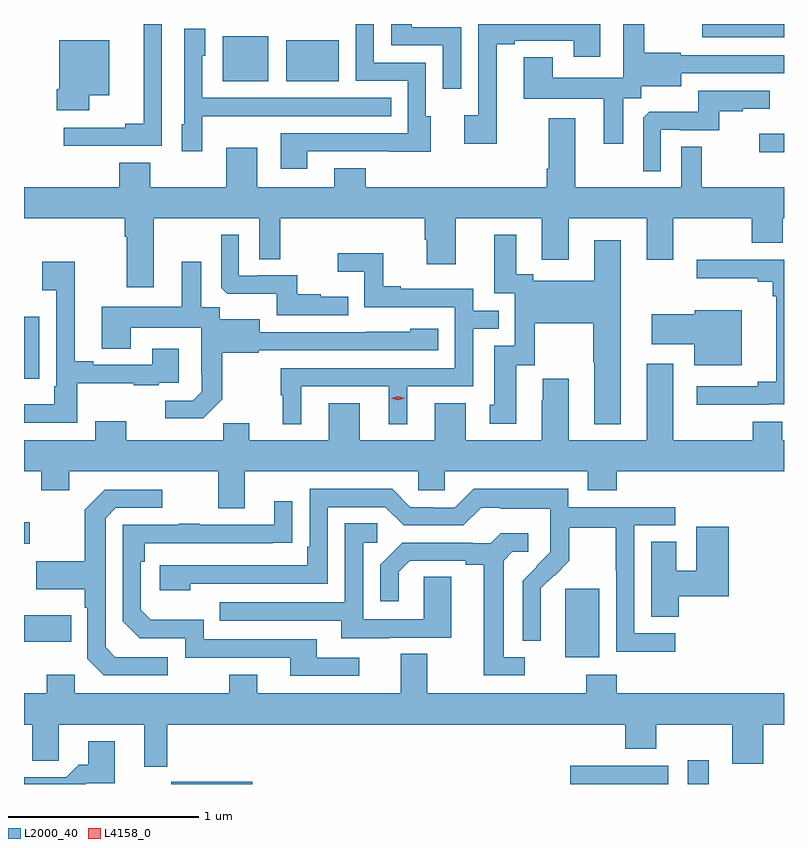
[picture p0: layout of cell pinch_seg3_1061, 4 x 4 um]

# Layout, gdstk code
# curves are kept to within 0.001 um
import gdstk
lib = gdstk.Library(unit=1e-6, precision=1e-09)
def R(c, l, rs):  # rectangles x0, y0, x1, y1
    for r in rs: c.add(gdstk.rectangle(r[:2], r[2:], *l))
def P(c, l, *ps):  # polygons
    for p in ps: c.add(gdstk.Polygon(p, *l))
L2000_40 = (2000, 40)
L4158_0 = (4158, 0)

pinch_seg3_1061 = lib.new_cell('pinch_seg3_1061')
R(pinch_seg3_1061, L2000_40, [(250.738,704.599,251.164,704.611), (252.837,704.599,253.353,704.694), (253.457,704.599,253.566,704.725), (252.812,705.266,252.991,705.627), (249.963,705.347,250.211,705.487), (249.963,705.863,249.994,705.976), (249.963,706.733,250.044,707.059), (253.833,707.924,253.963,708.022), (251.009,708.299,251.248,708.535), (251.342,708.299,251.62,708.514), (253.533,708.528,253.963,708.599)])
P(pinch_seg3_1061, L2000_40, [(253.117,708.208),(253.212,708.208),(253.212,708.272),(253.423,708.272),(253.423,708.339),(253.963,708.339),(253.963,708.435),(253.419,708.435),(253.419,708.448),(253.227,708.448),(253.227,708.599),(253.118,708.599),(253.118,708.557),(253.116,708.557),(253.116,708.316),(252.745,708.316),(252.745,708.425),(252.593,708.425),(252.593,708.206),(253.013,708.206),(253.013,707.97),(253.117,707.97)],
  [(250.689,708.599),(250.592,708.599),(250.592,708.074),(250.496,708.074),(250.496,708.054),(250.173,708.054),(250.173,707.958),(250.689,707.958)],
  [(252.264,708.583),(252.003,708.583),(252.003,708.599),(251.895,708.599),(251.895,708.486),(252.168,708.486),(252.168,708.258),(252.264,708.258)],
  [(252.451,708.492),(252.547,708.492),(252.547,708.51),(252.857,708.51),(252.857,708.426),(252.997,708.426),(252.997,708.599),(252.354,708.599),(252.354,708.118),(252.279,708.118),(252.279,707.97),(252.451,707.97)],
  [(251.455,707.928),(251.885,707.928),(251.885,707.927),(252.103,707.927),(252.103,708.114),(252.078,708.114),(252.078,708.396),(251.805,708.396),(251.805,708.599),(251.709,708.599),(251.709,708.3),(251.982,708.3),(251.982,708.024),(251.315,708.024),(251.315,707.838),(251.455,707.838)],
  [(250.902,708.113),(251.219,708.113),(251.219,708.114),(251.897,708.114),(251.897,708.21),(250.902,708.21),(250.902,708.432),(250.918,708.432),(250.918,708.575),(250.806,708.575),(250.806,708.072),(250.793,708.072),(250.793,707.928),(250.902,707.928)],
  [(250.306,708.224),(250.411,708.224),(250.411,708.514),(250.148,708.514),(250.148,708.256),(250.136,708.256),(250.136,708.144),(250.306,708.144)],
  [(253.314,708.042),(253.414,708.042),(253.414,708.039),(253.622,708.039),(253.622,708.141),(253.745,708.141),(253.745,708.152),(253.889,708.152),(253.889,708.249),(253.512,708.249),(253.512,708.137),(253.253,708.137),(253.221,708.105),(253.221,707.825),(253.314,707.825)],
  [(251.202,707.362),(251.311,707.362),(251.311,707.576),(252.071,707.576),(252.071,707.463),(252.083,707.463),(252.083,707.334),(252.235,707.334),(252.235,707.576),(252.689,707.576),(252.689,707.358),(252.829,707.358),(252.829,707.576),(253.241,707.576),(253.241,707.358),(253.381,707.358),(253.381,707.576),(253.793,707.576),(253.793,707.448),(253.957,707.448),(253.957,707.576),(253.963,707.576),(253.963,707.74),(253.531,707.74),(253.531,707.954),(253.422,707.954),(253.422,707.74),(252.865,707.74),(252.865,708.103),(252.725,708.103),(252.725,707.836),(252.713,707.836),(252.713,707.74),(251.761,707.74),(251.761,707.839),(251.597,707.839),(251.597,707.74),(251.191,707.74),(251.191,707.947),(251.027,707.947),(251.027,707.74),(250.627,707.74),(250.627,707.869),(250.463,707.869),(250.463,707.74),(249.963,707.74),(249.963,707.576),(250.493,707.576),(250.493,707.48),(250.505,707.48),(250.505,707.214),(250.645,707.214),(250.645,707.576),(251.202,707.576)],
  [(253.105,707.461),(252.965,707.461),(252.965,707.248),(252.643,707.248),(252.643,707.282),(252.553,707.282),(252.553,707.491),(252.437,707.491),(252.437,707.181),(252.546,707.181),(252.546,706.905),(252.437,706.905),(252.437,706.596),(252.413,706.596),(252.413,706.494),(252.553,706.494),(252.553,706.802),(252.651,706.802),(252.651,707.024),(252.958,707.024),(252.958,706.819),(252.965,706.819),(252.965,706.493),(253.105,706.493)],
  [(251.669,707.164),(251.525,707.164),(251.525,707.176),(251.402,707.176),(251.402,707.277),(251.194,707.277),(251.194,707.274),(251.094,707.274),(251.094,707.491),(251.001,707.491),(251.001,707.211),(251.033,707.18),(251.292,707.18),(251.292,707.067),(251.669,707.067)],
  [(251.422,706.692),(251.882,706.692),(251.882,706.493),(251.98,706.493),(251.98,706.692),(252.327,706.692),(252.327,706.995),(252.461,706.995),(252.461,707.091),(252.327,707.091),(252.327,707.205),(251.947,707.205),(251.947,707.218),(251.853,707.218),(251.853,707.393),(251.613,707.393),(251.613,707.294),(251.754,707.294),(251.754,707.109),(252.231,707.109),(252.231,706.788),(251.313,706.788),(251.313,706.644),(251.324,706.644),(251.324,706.493),(251.422,706.493)],
  [(253.883,706.599),(253.963,706.599),(253.963,707.358),(253.503,707.358),(253.503,707.261),(253.826,707.261),(253.826,707.242),(253.903,707.242),(253.903,707.165),(253.922,707.165),(253.922,706.715),(253.826,706.715),(253.826,706.692),(253.503,706.692),(253.503,706.595),(253.883,706.595)],
  [(251.007,706.623),(251.007,706.869),(251.199,706.869),(251.199,706.881),(252.142,706.881),(252.142,706.996),(251.997,706.996),(251.997,706.978),(251.203,706.977),(251.203,707.044),(250.992,707.044),(250.992,707.108),(250.897,707.108),(250.897,707.347),(250.793,707.347),(250.793,707.11),(250.373,707.11),(250.373,706.891),(250.525,706.891),(250.525,707),(250.896,707),(250.896,706.759),(250.898,706.759),(250.898,706.664),(250.851,706.617),(250.707,706.617),(250.707,706.523),(250.907,706.523)],
  [(250.243,706.709),(250.541,706.709),(250.541,706.698),(250.673,706.698),(250.673,706.71),(250.777,706.71),(250.777,706.891),(250.637,706.891),(250.637,706.806),(250.327,706.806),(250.327,706.825),(250.231,706.825),(250.231,707.347),(250.059,707.347),(250.059,707.198),(250.134,707.198),(250.134,706.693),(250.122,706.693),(250.122,706.597),(249.963,706.597),(249.963,706.5),(250.243,706.5)],
  [(253.741,707.092),(253.494,707.092),(253.494,707.071),(253.266,707.071),(253.266,706.913),(253.49,706.913),(253.49,706.802),(253.741,706.802)],
  [(251.125,706.244),(252.039,706.244),(252.039,706.146),(252.177,706.146),(252.177,706.244),(252.929,706.244),(252.929,706.145),(253.082,706.145),(253.082,706.244),(253.963,706.244),(253.963,706.408),(253.953,706.408),(253.953,706.506),(253.798,706.506),(253.798,706.408),(253.381,706.408),(253.381,706.81),(253.241,706.81),(253.241,706.408),(252.829,706.408),(252.829,706.732),(252.692,706.732),(252.692,706.619),(252.689,706.619),(252.689,706.408),(252.289,706.408),(252.289,706.603),(252.125,706.603),(252.125,706.408),(251.731,706.408),(251.731,706.603),(251.567,706.603),(251.567,706.408),(251.149,706.408),(251.149,706.499),(251.011,706.499),(251.011,706.408),(250.501,706.408),(250.501,706.507),(250.337,706.507),(250.337,706.408),(249.963,706.408),(249.963,706.244),(250.054,706.244),(250.054,706.145),(250.201,706.145),(250.201,706.244),(250.985,706.244),(250.985,706.05),(251.125,706.05)],
  [(253.39,705.393),(253.176,705.393),(253.176,705.96),(253.39,705.96),(253.39,706.056),(252.828,706.056),(252.828,706.153),(252.331,706.153),(252.231,706.053),(252.116,706.053),(252.116,706.056),(251.997,706.056),(251.901,706.152),(251.466,706.152),(251.466,705.847),(251.453,705.847),(251.453,705.75),(250.677,705.75),(250.677,705.62),(250.838,705.62),(250.838,705.654),(251.562,705.654),(251.562,706.056),(251.865,706.056),(251.961,705.96),(252.276,705.96),(252.369,706.053),(252.469,706.053),(252.469,706.049),(252.732,706.049),(252.732,705.915),(252.734,705.915),(252.734,705.818),(252.588,705.67),(252.588,705.352),(252.684,705.352),(252.683,705.629),(252.753,705.699),(252.756,705.696),(252.833,705.773),(252.833,705.948),(253.078,705.948),(253.078,705.724),(253.08,705.724),(253.08,705.295),(253.39,705.295)],
  [(250.72,705.267),(250.443,705.267),(250.392,705.318),(250.392,705.999),(250.446,706.053),(250.69,706.053),(250.69,706.149),(250.389,706.149),(250.284,706.043),(250.284,705.771),(250.027,705.771),(250.027,705.623),(250.284,705.623),(250.284,705.527),(250.296,705.527),(250.296,705.258),(250.383,705.171),(250.72,705.171)],
  [(251.728,705.264),(251.503,705.264),(251.503,705.36),(250.908,705.36),(250.908,705.463),(250.631,705.463),(250.578,705.516),(250.578,705.77),(250.598,705.77),(250.598,705.867),(251.375,705.868),(251.375,706.087),(251.279,706.087),(251.279,705.963),(250.889,705.963),(250.889,705.968),(250.777,705.968),(250.777,705.963),(250.482,705.963),(250.482,705.456),(250.572,705.366),(250.812,705.366),(250.812,705.264),(251.363,705.264),(251.363,705.168),(251.728,705.168)],
  [(251.887,705.369),(252.211,705.369),(252.211,705.689),(252.066,705.689),(252.066,705.465),(251.748,705.465),(251.748,705.87),(251.821,705.87),(251.821,705.971),(251.652,705.971),(251.652,705.555),(250.993,705.555),(250.993,705.459),(251.633,705.459),(251.633,705.365),(251.887,705.365)],
  [(253.409,705.587),(253.673,705.587),(253.673,705.952),(253.502,705.952),(253.502,705.721),(253.396,705.721),(253.396,705.875),(253.265,705.875),(253.265,705.478),(253.409,705.478)],
  [(252.598,705.267),(252.487,705.267),(252.487,705.775),(252.534,705.822),(252.616,705.822),(252.616,705.919),(252.472,705.919),(252.42,705.867),(252.326,705.867),(252.326,705.87),(251.954,705.87),(251.838,705.754),(251.838,705.561),(251.935,705.561),(251.935,705.717),(251.992,705.774),(252.287,705.774),(252.287,705.752),(252.383,705.752),(252.383,705.171),(252.598,705.171)],
  [(250.717,704.912),(253.127,704.912),(253.127,704.784),(253.291,704.784),(253.291,704.912),(253.691,704.912),(253.691,704.706),(253.855,704.706),(253.855,704.912),(253.963,704.912),(253.963,705.076),(253.082,705.076),(253.082,705.175),(252.922,705.175),(252.922,705.076),(252.085,705.076),(252.085,705.284),(251.945,705.284),(251.945,705.076),(251.191,705.076),(251.191,705.175),(251.044,705.175),(251.044,705.076),(250.23,705.076),(250.23,705.175),(250.084,705.175),(250.084,705.076),(249.963,705.076),(249.963,704.912),(250.007,704.912),(250.007,704.722),(250.146,704.722),(250.146,704.912),(250.595,704.912),(250.595,704.691),(250.717,704.691)],
  [(250.292,704.603),(250.441,704.603),(250.441,704.824),(250.301,704.824),(250.301,704.701),(250.252,704.701),(250.185,704.634),(249.963,704.634),(249.963,704.599),(250.288,704.599)])
P(pinch_seg3_1061, L4158_0, [(251.931,706.619),(251.895,706.63),(251.895,706.63),(251.895,706.63),(251.931,706.639),(251.967,706.628),(251.967,706.628),(251.967,706.628)])

lib.write_gds('pinch_seg3_1061.gds')
